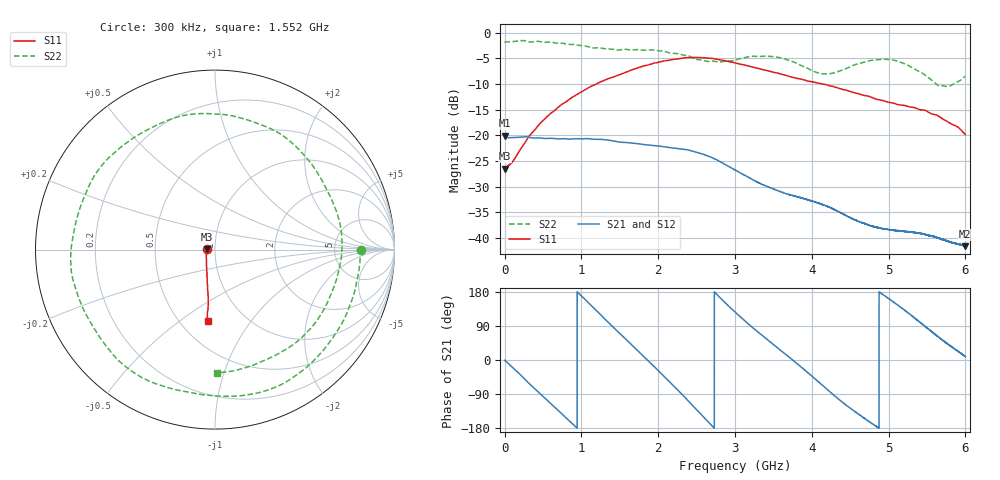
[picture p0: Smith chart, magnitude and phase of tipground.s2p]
!  8/6/2020  01:30:26
! Ref Plane: 0.000 mm
# MHZ S MA R  50
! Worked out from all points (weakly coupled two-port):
!   10001 points, 300 kHz to 6 GHz, reference 50 ohm
!   highest |S21| = -20.10 dB at 300 kHz (marker M1); lowest = -41.6 dB at 5.999 GHz (marker M2)
!   lowest |S11| = -26.5 dB at 300 kHz (marker M3), VSWR 1.10, Z = 45.5 + j0.114 ohm
!   |S11| at or under -10 dB: start of sweep to 1.198 GHz; 4.142 GHz to end of sweep
!   |S22| runs from -10.5 to -1.5 dB; largest |S21 - S12| = 0.0023
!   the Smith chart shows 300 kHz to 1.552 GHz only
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0.3  0.04725 178.5  0.09886 -1.0  0.09662 -0.7  0.8162 -0.2
290.0855  0.09083 -122.0  0.09649 -56.0  0.09669 -56.0  0.8219 -83.7
594.2703  0.162 -105.9  0.09337 -113.5  0.09357 -113.4  0.8097 -170.2
821.059  0.2173 -100.9  0.09205 -156.6  0.09222 -156.6  0.7696 125.6
1000.45  0.2646 -98.3  0.09225 169.1  0.0923 169.1  0.7446 75.0
1254.837  0.3329 -96.7  0.09124 118.7  0.09131 118.8  0.7069 -0.9
1538.623  0.3995 -96.0  0.08529 62.7  0.08538 62.7  0.6848 -85.4
1781.011  0.4655 -97.1  0.08188 15.1  0.08202 15.2  0.677 -151.7
2000.6  0.5123 -99.4  0.07856 -28.0  0.0787 -28.1  0.6666 151.6
2257.987  0.5547 -103.2  0.07415 -80.0  0.0744 -80.0  0.6208 85.5
2538.773  0.571 -108.9  0.06694 -139.3  0.06693 -139.3  0.5446 6.3
2781.161  0.5469 -113.1  0.0566 169.3  0.05666 169.5  0.5185 -68.8
3000.15  0.5067 -114.7  0.04587 126.7  0.04589 126.8  0.5386 -134.9
3232.338  0.4621 -115.2  0.03693 85.0  0.03691 85.0  0.5878 164.3
3515.524  0.4084 -113.2  0.02968 38.4  0.02955 38.3  0.5813 96.8
4000.3  0.3324 -106.0  0.02294 -42.3  0.02288 -42.2  0.428 -32.6
4215.089  0.3063 -102.9  0.02015 -80.3  0.02008 -80.3  0.398 -106.5
4476.676  0.2705 -98.9  0.01612 -123.6  0.01608 -123.4  0.4574 170.8
5000.45  0.2093 -87.7  0.01209 162.1  0.01204 162.2  0.5474 47.7
5498.425  0.1715 -76.4  0.01076 84.9  0.01074 84.6  0.3738 -73.8
5998.8  0.1019 -67.9  0.00832 9.6  0.008352 9.3  0.3755 111.7
6000  0.1017 -67.9  0.008343 8.8  0.008362 8.8  0.3759 111.4
